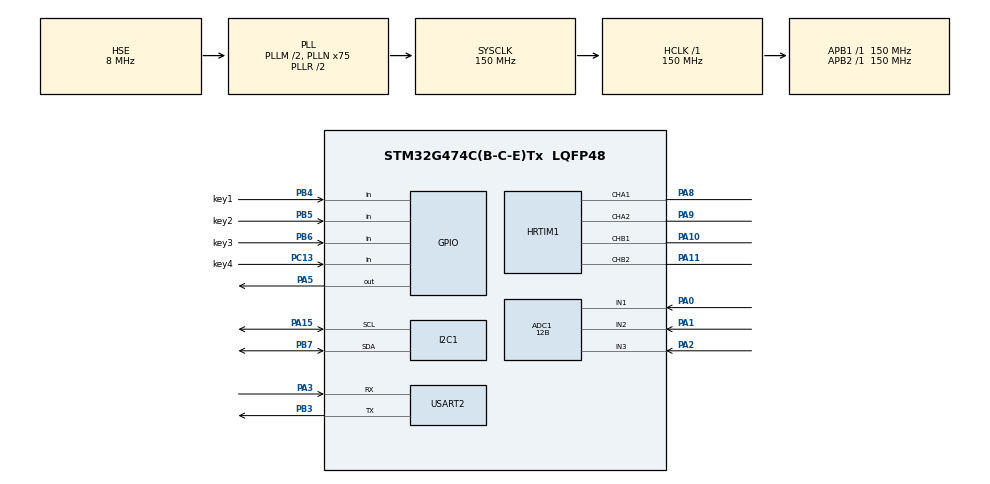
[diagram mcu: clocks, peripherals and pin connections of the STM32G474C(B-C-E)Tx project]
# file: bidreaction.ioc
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ADC1.Channel-0\#ChannelRegularConversion=ADC_CHANNEL_1
ADC1.Channel-1\#ChannelRegularConversion=ADC_CHANNEL_2
ADC1.Channel-2\#ChannelRegularConversion=ADC_CHANNEL_3
ADC1.Channel-IN1=ADC_CHANNEL_1
ADC1.Channel-IN2=ADC_CHANNEL_2
ADC1.Channel-IN3=ADC_CHANNEL_3
ADC1.ClockPrescaler=ADC_CLOCK_ASYNC_DIV4
ADC1.ContinuousConvMode=DISABLE
ADC1.DMAContinuousRequests=DISABLE
ADC1.DataAlign=ADC_DATAALIGN_RIGHT
ADC1.DiscontinuousConvMode=DISABLE
ADC1.EOCSelection=ADC_EOC_SINGLE_CONV
ADC1.EnableAnalogWatchDog1=false
ADC1.EnableAnalogWatchDog2=false
ADC1.EnableAnalogWatchDog3=false
ADC1.EnableInjectedConversion=DISABLE
ADC1.EnableRegularConversion=ENABLE
ADC1.ExternalTrigConv=ADC_SOFTWARE_START
ADC1.ExternalTrigConvEdge=ADC_EXTERNALTRIGCONVEDGE_NONE
ADC1.GainCompensation=0
ADC1.LowPowerAutoWait=DISABLE
ADC1.Mode=ADC_MODE_INDEPENDENT
ADC1.NbrOfConversion=3
ADC1.OffsetNumber-0\#ChannelRegularConversion=ADC_OFFSET_NONE
ADC1.OffsetNumber-1\#ChannelRegularConversion=ADC_OFFSET_NONE
ADC1.OffsetNumber-2\#ChannelRegularConversion=ADC_OFFSET_NONE
ADC1.Overrun=ADC_OVR_DATA_PRESERVED
ADC1.OversamplingMode=DISABLE
ADC1.Rank-0\#ChannelRegularConversion=1
ADC1.Rank-1\#ChannelRegularConversion=2
ADC1.Rank-2\#ChannelRegularConversion=3
ADC1.Resolution=ADC_RESOLUTION_12B
ADC1.SamplingTime-0\#ChannelRegularConversion=ADC_SAMPLETIME_24CYCLES_5
ADC1.SamplingTime-1\#ChannelRegularConversion=ADC_SAMPLETIME_24CYCLES_5
ADC1.SamplingTime-2\#ChannelRegularConversion=ADC_SAMPLETIME_24CYCLES_5
ADC1.ScanConvMode=ADC_SCAN_ENABLE
ADC1.SingleDiff-0\#ChannelRegularConversion=ADC_SINGLE_ENDED
ADC1.SingleDiff-1\#ChannelRegularConversion=ADC_SINGLE_ENDED
ADC1.SingleDiff-2\#ChannelRegularConversion=ADC_SINGLE_ENDED
ADC1.master=1
HRTIM1.ADCTrigger_Id1=__NULL
HRTIM1.ADCTrigger_Id10=__NULL
HRTIM1.ADCTrigger_Id2=__NULL
HRTIM1.ADCTrigger_Id3=__NULL
HRTIM1.ADCTrigger_Id4=__NULL
HRTIM1.ADCTrigger_Id5=__NULL
HRTIM1.ADCTrigger_Id6=__NULL
HRTIM1.ADCTrigger_Id7=__NULL
HRTIM1.ADCTrigger_Id8=__NULL
HRTIM1.ADCTrigger_Id9=__NULL
HRTIM1.BurstDMAconfig-Output_TA1TA2=__NULL
HRTIM1.BurstDMAconfig-Output_TB1TB2=__NULL
HRTIM1.BurstMode-Output_TA1TA2=HRTIM_TIMERBURSTMODE_MAINTAINCLOCK
HRTIM1.BurstMode-Output_TB1TB2=HRTIM_TIMERBURSTMODE_MAINTAINCLOCK
HRTIM1.BurstModeEntryDelayed1-Output_TA1TA2=HRTIM_OUTPUTBURSTMODEENTRY_REGULAR
HRTIM1.BurstModeEntryDelayed1-Output_TB1TB2=HRTIM_OUTPUTBURSTMODEENTRY_REGULAR
HRTIM1.BurstModeEntryDelayed2-Output_TA1TA2=HRTIM_OUTPUTBURSTMODEENTRY_REGULAR
HRTIM1.BurstModeEntryDelayed2-Output_TB1TB2=HRTIM_OUTPUTBURSTMODEENTRY_REGULAR
HRTIM1.CalibrationRate_nonIT=HRTIM_CALIBRATIONRATE_3
HRTIM1.CaptureUnit1-Output_TA1TA2=__NULL
HRTIM1.CaptureUnit1-Output_TB1TB2=__NULL
HRTIM1.CaptureUnit2-Output_TA1TA2=__NULL
HRTIM1.CaptureUnit2-Output_TB1TB2=__NULL
HRTIM1.ChopperModeEnable1-Output_TA1TA2=HRTIM_OUTPUTCHOPPERMODE_DISABLED
HRTIM1.ChopperModeEnable1-Output_TB1TB2=HRTIM_OUTPUTCHOPPERMODE_DISABLED
HRTIM1.ChopperModeEnable2-Output_TA1TA2=HRTIM_OUTPUTCHOPPERMODE_DISABLED
HRTIM1.ChopperModeEnable2-Output_TB1TB2=HRTIM_OUTPUTCHOPPERMODE_DISABLED
HRTIM1.ChopperModeconfig-Output_TA1TA2=__NULL
HRTIM1.ChopperModeconfig-Output_TB1TB2=__NULL
HRTIM1.CompareUnit1-Output_TA1TA2=HRTIM_COMPAREUNIT_1
HRTIM1.CompareUnit1-Output_TB1TB2=HRTIM_COMPAREUNIT_1
HRTIM1.CompareUnit2-Output_TA1TA2=__NULL
HRTIM1.CompareUnit2-Output_TB1TB2=__NULL
HRTIM1.CompareUnit3-Output_TA1TA2=__NULL
HRTIM1.CompareUnit3-Output_TB1TB2=__NULL
HRTIM1.CompareUnit4-Output_TA1TA2=__NULL
HRTIM1.CompareUnit4-Output_TB1TB2=__NULL
HRTIM1.CompareValue1-Output_TA1TA2=0x3E80
HRTIM1.CompareValue1-Output_TB1TB2=0x3E80
HRTIM1.Configuration_TA=Waveform
HRTIM1.Configuration_TB=Waveform
HRTIM1.DACSynchro-Output_TA1TA2=HRTIM_DACSYNC_NONE
HRTIM1.DACSynchro-Output_TB1TB2=HRTIM_DACSYNC_NONE
HRTIM1.DeadTimeInsertion-Output_TA1TA2=HRTIM_TIMDEADTIMEINSERTION_ENABLED
HRTIM1.DeadTimeInsertion-Output_TB1TB2=HRTIM_TIMDEADTIMEINSERTION_ENABLED
HRTIM1.Deadtimeconfig-Output_TA1TA2=HRTIM_TIMERINDEX_TIMER_A
HRTIM1.Deadtimeconfig-Output_TB1TB2=HRTIM_TIMERINDEX_TIMER_B
HRTIM1.DelayedProtectionMode-Output_TA1TA2=HRTIM_TIMER_A_B_C_DELAYEDPROTECTION_DISABLED
HRTIM1.DelayedProtectionMode-Output_TB1TB2=HRTIM_TIMER_A_B_C_DELAYEDPROTECTION_DISABLED
HRTIM1.DualChannelDacEnableFake_TA-Output_TA1TA2=HRTIM_TIMER_DCDE_DISABLED
HRTIM1.DualChannelDacEnableFake_TB-Output_TB1TB2=HRTIM_TIMER_DCDE_DISABLED
HRTIM1.Enable=HRTIM_BURSTMODECTL_DISABLED
HRTIM1.EnableCalibration=DLLSimpleCalibration
HRTIM1.Event1-Output_TA1TA2=__NULL
HRTIM1.Event1-Output_TB1TB2=__NULL
HRTIM1.Event10-Output_TA1TA2=__NULL
HRTIM1.Event10-Output_TB1TB2=__NULL
HRTIM1.Event2-Output_TA1TA2=__NULL
HRTIM1.Event2-Output_TB1TB2=__NULL
HRTIM1.Event3-Output_TA1TA2=__NULL
HRTIM1.Event3-Output_TB1TB2=__NULL
HRTIM1.Event4-Output_TA1TA2=__NULL
HRTIM1.Event4-Output_TB1TB2=__NULL
HRTIM1.Event5-Output_TA1TA2=__NULL
HRTIM1.Event5-Output_TB1TB2=__NULL
HRTIM1.Event6-Output_TA1TA2=__NULL
HRTIM1.Event6-Output_TB1TB2=__NULL
HRTIM1.Event7-Output_TA1TA2=__NULL
HRTIM1.Event7-Output_TB1TB2=__NULL
HRTIM1.Event8-Output_TA1TA2=__NULL
HRTIM1.Event8-Output_TB1TB2=__NULL
HRTIM1.Event9-Output_TA1TA2=__NULL
HRTIM1.Event9-Output_TB1TB2=__NULL
HRTIM1.EventEnableA-Output_TA1TA2=__NULL
HRTIM1.EventEnableA-Output_TB1TB2=__NULL
HRTIM1.Event_EEV1=__NULL
HRTIM1.Event_EEV10=__NULL
HRTIM1.Event_EEV2=__NULL
HRTIM1.Event_EEV3=__NULL
HRTIM1.Event_EEV4=__NULL
HRTIM1.Event_EEV5=__NULL
HRTIM1.Event_EEV6=__NULL
HRTIM1.Event_EEV7=__NULL
HRTIM1.Event_EEV8=__NULL
HRTIM1.Event_EEV9=__NULL
HRTIM1.FallingValue-Output_TA1TA2=240
HRTIM1.FallingValue-Output_TB1TB2=240
HRTIM1.FaultLevel1-Output_TA1TA2=HRTIM_OUTPUTFAULTLEVEL_NONE
HRTIM1.FaultLevel1-Output_TB1TB2=HRTIM_OUTPUTFAULTLEVEL_NONE
HRTIM1.FaultLevel2-Output_TA1TA2=HRTIM_OUTPUTFAULTLEVEL_NONE
HRTIM1.FaultLevel2-Output_TB1TB2=HRTIM_OUTPUTFAULTLEVEL_NONE
HRTIM1.FaultLock-Output_TA1TA2=HRTIM_TIMFAULTLOCK_READWRITE
HRTIM1.FaultLock-Output_TB1TB2=HRTIM_TIMFAULTLOCK_READWRITE
HRTIM1.Fault_Line1=__NULL
HRTIM1.Fault_Line2=__NULL
HRTIM1.Fault_Line3=__NULL
HRTIM1.Fault_Line4=__NULL
HRTIM1.Fault_Line5=__NULL
HRTIM1.Fault_Line6=__NULL
HRTIM1.GreaterCMP1_TB=HRTIM_TIMERGTCMP1_EQUAL
HRTIM1.HRTIMInterruptResquests1=HRTIM_IT_NONE
HRTIM1.HRTIMInterruptResquests2=HRTIM_IT_NONE
HRTIM1.HRTIMInterruptResquests3=HRTIM_IT_NONE
HRTIM1.HRTIMInterruptResquests4=HRTIM_IT_NONE
HRTIM1.HRTIMInterruptResquests5=HRTIM_IT_NONE
HRTIM1.HRTIMInterruptResquests6=HRTIM_IT_NONE
HRTIM1.HRTIMInterruptResquests7=HRTIM_IT_NONE
HRTIM1.HRTIMInterruptResquests8=HRTIM_IT_NONE
HRTIM1.HRTIMInterruptResquests9=HRTIM_IT_NONE
HRTIM1.IdleLevel1-Output_TA1TA2=HRTIM_OUTPUTIDLELEVEL_INACTIVE
HRTIM1.IdleLevel1-Output_TB1TB2=HRTIM_OUTPUTIDLELEVEL_INACTIVE
HRTIM1.IdleLevel2-Output_TA1TA2=HRTIM_OUTPUTIDLELEVEL_INACTIVE
HRTIM1.IdleLevel2-Output_TB1TB2=HRTIM_OUTPUTIDLELEVEL_INACTIVE
HRTIM1.IdleMode1-Output_TA1TA2=HRTIM_OUTPUTIDLEMODE_NONE
HRTIM1.IdleMode1-Output_TB1TB2=HRTIM_OUTPUTIDLEMODE_NONE
HRTIM1.IdleMode2-Output_TA1TA2=HRTIM_OUTPUTIDLEMODE_NONE
HRTIM1.IdleMode2-Output_TB1TB2=HRTIM_OUTPUTIDLEMODE_NONE
HRTIM1.InterleavedMode-Output_TA1TA2=HRTIM_INTERLEAVED_MODE_DISABLED
HRTIM1.InterleavedMode-Output_TB1TB2=HRTIM_INTERLEAVED_MODE_DISABLED
HRTIM1.ModeTimeBase-Output_TA1TA2=HRTIM_MODE_CONTINUOUS
HRTIM1.ModeTimeBase-Output_TB1TB2=HRTIM_MODE_CONTINUOUS
HRTIM1.NumberDMARequests_TA=0
HRTIM1.NumberDMARequests_TB=0
HRTIM1.NumberFaultEnable-Output_TA1TA2=0
HRTIM1.NumberFaultEnable-Output_TB1TB2=0
HRTIM1.NumberInterruptRequests-Output_TA1TA2=0
HRTIM1.NumberInterruptRequests-Output_TB1TB2=0
HRTIM1.NumberResetSource1-Output_TA1TA2=1
HRTIM1.NumberResetSource1-Output_TB1TB2=1
HRTIM1.NumberResetSource2_TB=0
HRTIM1.NumberResetTrigger-Output_TA1TA2=0
HRTIM1.NumberResetTrigger-Output_TB1TB2=0
HRTIM1.NumberSetSource1-Output_TA1TA2=1
HRTIM1.NumberSetSource1-Output_TB1TB2=1
HRTIM1.NumberSetSource2_TA=0
HRTIM1.NumberSetSource2_TB=0
HRTIM1.NumberUpdateTrigger-Output_TA1TA2=0
HRTIM1.NumberUpdateTrigger-Output_TB1TB2=0
HRTIM1.Output1-Output_TA1TA2=HRTIM_OUTPUT_TA1
HRTIM1.Output1-Output_TB1TB2=HRTIM_OUTPUT_TB1
HRTIM1.Output2-Output_TA1TA2=HRTIM_OUTPUT_TA2
HRTIM1.Output2-Output_TB1TB2=HRTIM_OUTPUT_TB2
HRTIM1.Periode_TA=32000
HRTIM1.Periode_TB=32000
HRTIM1.Polarity1-Output_TA1TA2=HRTIM_OUTPUTPOLARITY_HIGH
HRTIM1.Polarity1-Output_TB1TB2=HRTIM_OUTPUTPOLARITY_HIGH
HRTIM1.Polarity2-Output_TA1TA2=HRTIM_OUTPUTPOLARITY_HIGH
HRTIM1.Polarity2-Output_TB1TB2=HRTIM_OUTPUTPOLARITY_HIGH
HRTIM1.PreloadEnable-Output_TA1TA2=HRTIM_PRELOAD_ENABLED
HRTIM1.PreloadEnable-Output_TB1TB2=HRTIM_PRELOAD_ENABLED
HRTIM1.PrescalerRatio_TA=HRTIM_PRESCALERRATIO_MUL32
HRTIM1.PrescalerRatio_TB=HRTIM_PRESCALERRATIO_MUL32
HRTIM1.PushPull-Output_TA1TA2=HRTIM_TIMPUSHPULLMODE_DISABLED
HRTIM1.PushPull-Output_TB1TB2=HRTIM_TIMPUSHPULLMODE_DISABLED
HRTIM1.ReSyncUpdate-Output_TA1TA2=HRTIM_TIMERESYNC_UPDATE_UNCONDITIONAL
HRTIM1.ReSyncUpdate-Output_TB1TB2=HRTIM_TIMERESYNC_UPDATE_UNCONDITIONAL
HRTIM1.RepetitionUpdate-Output_TA1TA2=HRTIM_UPDATEONREPETITION_ENABLED
HRTIM1.RepetitionUpdate-Output_TB1TB2=HRTIM_UPDATEONREPETITION_ENABLED
HRTIM1.ResetOnSync-Output_TA1TA2=HRTIM_SYNCRESET_DISABLED
HRTIM1.ResetOnSync-Output_TB1TB2=HRTIM_SYNCRESET_DISABLED
HRTIM1.ResetOutput1_Source1-Output_TA1TA2=HRTIM_OUTPUTRESET_TIMCMP1
HRTIM1.ResetOutput1_Source1-Output_TB1TB2=HRTIM_OUTPUTRESET_TIMCMP1
HRTIM1.ResetUpdate-Output_TA1TA2=HRTIM_TIMUPDATEONRESET_DISABLED
HRTIM1.ResetUpdate-Output_TB1TB2=HRTIM_TIMUPDATEONRESET_DISABLED
HRTIM1.RisingValue-Output_TA1TA2=240
HRTIM1.RisingValue-Output_TB1TB2=240
HRTIM1.SetOutput1_Source1-Output_TA1TA2=HRTIM_OUTPUTSET_TIMPER
HRTIM1.SetOutput1_Source1-Output_TB1TB2=HRTIM_OUTPUTSET_TIMPER
HRTIM1.StartOnSync-Output_TA1TA2=HRTIM_SYNCSTART_DISABLED
HRTIM1.StartOnSync-Output_TB1TB2=HRTIM_SYNCSTART_DISABLED
HRTIM1.SwapA=__NULL
HRTIM1.SwapB=__NULL
HRTIM1.SyncOptions=HRTIM_SYNCOPTION_NONE
HRTIM1.Timeout=10
HRTIM1.TimerIdx-Output_TA1TA2=HRTIM_TIMERINDEX_TIMER_A
HRTIM1.TimerIdx-Output_TB1TB2=HRTIM_TIMERINDEX_TIMER_B
HRTIM1.UpDownMode-Output_TA1TA2=HRTIM_TIMERUPDOWNMODE_UP
HRTIM1.UpDownMode-Output_TB1TB2=HRTIM_TIMERUPDOWNMODE_UP
HRTIM1.UpdateGating-Output_TA1TA2=HRTIM_UPDATEGATING_INDEPENDENT
HRTIM1.UpdateGating-Output_TB1TB2=HRTIM_UPDATEGATING_INDEPENDENT
I2C1.Analog_Filter=I2C_ANALOGFILTER_ENABLE
I2C1.Timing=0x20C0EDFF
Mcu.Family=STM32G4
Mcu.Name=STM32G474C(B-C-E)Tx
Mcu.Package=LQFP48
NVIC.PriorityGroup=NVIC_PRIORITYGROUP_4
PA0.Mode=IN1-Single-Ended
PA0.Signal=ADC1_IN1
PA1.Mode=IN2-Single-Ended
PA1.Signal=ADC1_IN2
PA10.Mode=Output_TB1TB2
PA10.Signal=HRTIM1_CHB1
PA11.Mode=Output_TB1TB2
PA11.Signal=HRTIM1_CHB2
PA13.Mode=Serial_Wire
PA13.Signal=SYS_JTMS-SWDIO
PA14.Mode=Serial_Wire
PA14.Signal=SYS_JTCK-SWCLK
PA15.Mode=I2C
PA15.Signal=I2C1_SCL
PA2.Mode=IN3-Single-Ended
PA2.Signal=ADC1_IN3
PA3.Mode=Asynchronous
PA3.Signal=USART2_RX
PA5.GPIO_PuPd=GPIO_PULLUP
PA5.Signal=GPIO_Output
PA8.Mode=Output_TA1TA2
PA8.Signal=HRTIM1_CHA1
PA9.Mode=Output_TA1TA2
PA9.Signal=HRTIM1_CHA2
PB3.Mode=Asynchronous
PB3.Signal=USART2_TX
PB4.GPIO_Label=key1
PB4.GPIO_PuPd=GPIO_PULLUP
PB4.Signal=GPIO_Input
PB5.GPIO_Label=key2
PB5.GPIO_PuPd=GPIO_PULLUP
PB5.Signal=GPIO_Input
PB6.GPIO_Label=key3
PB6.GPIO_PuPd=GPIO_PULLUP
PB6.Signal=GPIO_Input
PB7.Mode=I2C
PB7.Signal=I2C1_SDA
PC13.GPIO_Label=key4
PC13.GPIO_PuPd=GPIO_PULLUP
PC13.Signal=GPIO_Input
PF0-OSC_IN.Mode=HSE-External-Oscillator
PF0-OSC_IN.Signal=RCC_OSC_IN
PF1-OSC_OUT.Mode=HSE-External-Oscillator
PF1-OSC_OUT.Signal=RCC_OSC_OUT
ProjectManager.HeapSize=0x200
ProjectManager.StackSize=0x400
ProjectManager.TargetToolchain=MDK-ARM V5.32
RCC.ADC12Freq_Value=150000000
RCC.ADC345Freq_Value=150000000
RCC.AHBFreq_Value=150000000
RCC.APB1Freq_Value=150000000
RCC.APB1TimFreq_Value=150000000
RCC.APB2Freq_Value=150000000
RCC.APB2TimFreq_Value=150000000
RCC.CortexFreq_Value=150000000
RCC.EXTERNAL_CLOCK_VALUE=12288000
RCC.FLatency=FLASH_LATENCY_4
RCC.HCLKFreq_Value=150000000
RCC.HSE_VALUE=8000000
RCC.HSI48_VALUE=48000000
RCC.HSI_VALUE=16000000
RCC.LSE_VALUE=32768
RCC.PLLM=RCC_PLLM_DIV2
RCC.PLLN=75
RCC.PLLSourceVirtual=RCC_PLLSOURCE_HSE
RCC.SYSCLKFreq_VALUE=150000000
RCC.SYSCLKSource=RCC_SYSCLKSOURCE_PLLCLK
RCC.USBFreq_Value=150000000
RCC.VCOOutputFreq_Value=300000000
USART2.VirtualMode-Asynchronous=VM_ASYNC
VP_SYS_VS_DBSignals.Mode=DisableDeadBatterySignals
board=custom

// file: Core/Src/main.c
/* USER CODE BEGIN Header */
/**
  ******************************************************************************
  * @file           : main.c
  * @brief          : Main program body
  ******************************************************************************
  * @attention
  *
  * Copyright (c) 2026 STMicroelectronics.
  * All rights reserved.
  *
  * This software is licensed under terms that can be found in the LICENSE file
  * in the root directory of this software component.
  * If no LICENSE file comes with this software, it is provided AS-IS.
  *
  ******************************************************************************
  */
/* USER CODE END Header */
#include "main.h"

/* USER CODE BEGIN Includes */
#include "key.h"
#include "OLED_IIC_Config.h"
#include "forward.h"
#include "adc_acquire.h"
#include "power_control.h"
#include "power_ui.h"
/* USER CODE END Includes */

ADC_HandleTypeDef hadc1;

HRTIM_HandleTypeDef hhrtim1;

I2C_HandleTypeDef hi2c1;

UART_HandleTypeDef huart2;

/* USER CODE BEGIN PV */
AdcMeasurements adc_measurements;

/* USER CODE END PV */

void SystemClock_Config(void);
static void MX_GPIO_Init(void);
static void MX_ADC1_Init(void);
static void MX_HRTIM1_Init(void);
static void MX_I2C1_Init(void);
static void MX_USART2_UART_Init(void);

int main(void)
{

  /* MCU Configuration--------------------------------------------------------*/

  /* Reset of all peripherals, Initializes the Flash interface and the Systick. */
  HAL_Init();

  /* Configure the system clock */
  SystemClock_Config();

  /* Initialize all configured peripherals */
  MX_GPIO_Init();
  MX_ADC1_Init();
  MX_HRTIM1_Init();
  MX_I2C1_Init();
  MX_USART2_UART_Init();
  /* USER CODE BEGIN 2 */
  if (HAL_ADCEx_Calibration_Start(&hadc1, ADC_SINGLE_ENDED) != HAL_OK)
  {
    Error_Handler();
  }
  Key_Init();
  OLED_Init();
  forward_initialize(0.0);
  if (Power_Init(&hadc1, &hhrtim1) != HAL_OK)
  {
    Error_Handler();
  }
  PowerUI_Init();
  /* USER CODE END 2 */

  /* Infinite loop */
  while (1)
  {

    /* USER CODE BEGIN 3 */
    Power_Service(&adc_measurements);
    PowerUI_Service(&adc_measurements);
    HAL_Delay(1);
  }
  /* USER CODE END 3 */
}

void SystemClock_Config(void)
{
  RCC_OscInitTypeDef RCC_OscInitStruct = {0};
  RCC_ClkInitTypeDef RCC_ClkInitStruct = {0};

  /** Configure the main internal regulator output voltage
  */
  HAL_PWREx_ControlVoltageScaling(PWR_REGULATOR_VOLTAGE_SCALE1);

  /** Initializes the RCC Oscillators according to the specified parameters
  * in the RCC_OscInitTypeDef structure.
  */
  RCC_OscInitStruct.OscillatorType = RCC_OSCILLATORTYPE_HSE;
  RCC_OscInitStruct.HSEState = RCC_HSE_ON;
  RCC_OscInitStruct.PLL.PLLState = RCC_PLL_ON;
  RCC_OscInitStruct.PLL.PLLSource = RCC_PLLSOURCE_HSE;
  RCC_OscInitStruct.PLL.PLLM = RCC_PLLM_DIV2;
  RCC_OscInitStruct.PLL.PLLN = 75;
  RCC_OscInitStruct.PLL.PLLP = RCC_PLLP_DIV2;
  RCC_OscInitStruct.PLL.PLLQ = RCC_PLLQ_DIV2;
  RCC_OscInitStruct.PLL.PLLR = RCC_PLLR_DIV2;
  if (HAL_RCC_OscConfig(&RCC_OscInitStruct) != HAL_OK)
  {
    Error_Handler();
  }

  /** Initializes the CPU, AHB and APB buses clocks
  */
  RCC_ClkInitStruct.ClockType = RCC_CLOCKTYPE_HCLK|RCC_CLOCKTYPE_SYSCLK
                              |RCC_CLOCKTYPE_PCLK1|RCC_CLOCKTYPE_PCLK2;
  RCC_ClkInitStruct.SYSCLKSource = RCC_SYSCLKSOURCE_PLLCLK;
  RCC_ClkInitStruct.AHBCLKDivider = RCC_SYSCLK_DIV1;
  RCC_ClkInitStruct.APB1CLKDivider = RCC_HCLK_DIV1;
  RCC_ClkInitStruct.APB2CLKDivider = RCC_HCLK_DIV1;

  if (HAL_RCC_ClockConfig(&RCC_ClkInitStruct, FLASH_LATENCY_4) != HAL_OK)
  {
    Error_Handler();
  }
}

static void MX_ADC1_Init(void)
{

  ADC_MultiModeTypeDef multimode = {0};
  ADC_ChannelConfTypeDef sConfig = {0};

  /** Common config
  */
  hadc1.Instance = ADC1;
  hadc1.Init.ClockPrescaler = ADC_CLOCK_ASYNC_DIV4;
  hadc1.Init.Resolution = ADC_RESOLUTION_12B;
  hadc1.Init.DataAlign = ADC_DATAALIGN_RIGHT;
  hadc1.Init.GainCompensation = 0;
  hadc1.Init.ScanConvMode = ADC_SCAN_ENABLE;
  hadc1.Init.EOCSelection = ADC_EOC_SINGLE_CONV;
  hadc1.Init.LowPowerAutoWait = DISABLE;
  hadc1.Init.ContinuousConvMode = DISABLE;
  hadc1.Init.NbrOfConversion = 3;
  hadc1.Init.DiscontinuousConvMode = DISABLE;
  hadc1.Init.ExternalTrigConv = ADC_SOFTWARE_START;
  hadc1.Init.ExternalTrigConvEdge = ADC_EXTERNALTRIGCONVEDGE_NONE;
  hadc1.Init.DMAContinuousRequests = DISABLE;
  hadc1.Init.Overrun = ADC_OVR_DATA_PRESERVED;
  hadc1.Init.OversamplingMode = DISABLE;
  if (HAL_ADC_Init(&hadc1) != HAL_OK)
  {
    Error_Handler();
  }

  /** Configure the ADC multi-mode
  */
  multimode.Mode = ADC_MODE_INDEPENDENT;
  if (HAL_ADCEx_MultiModeConfigChannel(&hadc1, &multimode) != HAL_OK)
  {
    Error_Handler();
  }

  /** Configure Regular Channel
  */
  sConfig.Channel = ADC_CHANNEL_1;
  sConfig.Rank = ADC_REGULAR_RANK_1;
  sConfig.SamplingTime = ADC_SAMPLETIME_24CYCLES_5;
  sConfig.SingleDiff = ADC_SINGLE_ENDED;
  sConfig.OffsetNumber = ADC_OFFSET_NONE;
  sConfig.Offset = 0;
  if (HAL_ADC_ConfigChannel(&hadc1, &sConfig) != HAL_OK)
  {
    Error_Handler();
  }

  sConfig.Channel = ADC_CHANNEL_2;
  sConfig.Rank = ADC_REGULAR_RANK_2;
  if (HAL_ADC_ConfigChannel(&hadc1, &sConfig) != HAL_OK)
  {
    Error_Handler();
  }

  sConfig.Channel = ADC_CHANNEL_3;
  sConfig.Rank = ADC_REGULAR_RANK_3;
  if (HAL_ADC_ConfigChannel(&hadc1, &sConfig) != HAL_OK)
  {
    Error_Handler();
  }

}

static void MX_HRTIM1_Init(void)
{

  HRTIM_TimeBaseCfgTypeDef pTimeBaseCfg = {0};
  HRTIM_TimerCtlTypeDef pTimerCtl = {0};
  HRTIM_TimerCfgTypeDef pTimerCfg = {0};
  HRTIM_CompareCfgTypeDef pCompareCfg = {0};
  HRTIM_DeadTimeCfgTypeDef pDeadTimeCfg = {0};
  HRTIM_OutputCfgTypeDef pOutputCfg = {0};

  hhrtim1.Instance = HRTIM1;
  hhrtim1.Init.HRTIMInterruptResquests = HRTIM_IT_NONE;
  hhrtim1.Init.SyncOptions = HRTIM_SYNCOPTION_NONE;
  if (HAL_HRTIM_Init(&hhrtim1) != HAL_OK)
  {
    Error_Handler();
  }
  if (HAL_HRTIM_DLLCalibrationStart(&hhrtim1, HRTIM_CALIBRATIONRATE_3) != HAL_OK)
  {
    Error_Handler();
  }
  if (HAL_HRTIM_PollForDLLCalibration(&hhrtim1, 10) != HAL_OK)
  {
    Error_Handler();
  }
  pTimeBaseCfg.Period = PWM_PERIOD_TICKS;
  pTimeBaseCfg.RepetitionCounter = 0x00;
  pTimeBaseCfg.PrescalerRatio = HRTIM_PRESCALERRATIO_MUL32;
  pTimeBaseCfg.Mode = HRTIM_MODE_CONTINUOUS;
  if (HAL_HRTIM_TimeBaseConfig(&hhrtim1, HRTIM_TIMERINDEX_TIMER_A, &pTimeBaseCfg) != HAL_OK)
  {
    Error_Handler();
  }
  pTimerCtl.UpDownMode = HRTIM_TIMERUPDOWNMODE_UP;
  pTimerCtl.GreaterCMP1 = HRTIM_TIMERGTCMP1_EQUAL;
  pTimerCtl.DualChannelDacEnable = HRTIM_TIMER_DCDE_DISABLED;
  if (HAL_HRTIM_WaveformTimerControl(&hhrtim1, HRTIM_TIMERINDEX_TIMER_A, &pTimerCtl) != HAL_OK)
  {
    Error_Handler();
  }
  pTimerCfg.InterruptRequests = HRTIM_TIM_IT_NONE;
  pTimerCfg.DMARequests = HRTIM_TIM_DMA_NONE;
  pTimerCfg.DMASrcAddress = 0x0000;
  pTimerCfg.DMADstAddress = 0x0000;
  pTimerCfg.DMASize = 0x1;
  pTimerCfg.HalfModeEnable = HRTIM_HALFMODE_DISABLED;
  pTimerCfg.InterleavedMode = HRTIM_INTERLEAVED_MODE_DISABLED;
  pTimerCfg.StartOnSync = HRTIM_SYNCSTART_DISABLED;
  pTimerCfg.ResetOnSync = HRTIM_SYNCRESET_DISABLED;
  pTimerCfg.DACSynchro = HRTIM_DACSYNC_NONE;
  pTimerCfg.PreloadEnable = HRTIM_PRELOAD_ENABLED;
  pTimerCfg.UpdateGating = HRTIM_UPDATEGATING_INDEPENDENT;
  pTimerCfg.BurstMode = HRTIM_TIMERBURSTMODE_MAINTAINCLOCK;
  pTimerCfg.RepetitionUpdate = HRTIM_UPDATEONREPETITION_ENABLED;
  pTimerCfg.PushPull = HRTIM_TIMPUSHPULLMODE_DISABLED;
  pTimerCfg.FaultEnable = HRTIM_TIMFAULTENABLE_NONE;
  pTimerCfg.FaultLock = HRTIM_TIMFAULTLOCK_READWRITE;
  pTimerCfg.DeadTimeInsertion = HRTIM_TIMDEADTIMEINSERTION_ENABLED;
  pTimerCfg.DelayedProtectionMode = HRTIM_TIMER_A_B_C_DELAYEDPROTECTION_DISABLED;
  pTimerCfg.UpdateTrigger = HRTIM_TIMUPDATETRIGGER_NONE;
  pTimerCfg.ResetTrigger = HRTIM_TIMRESETTRIGGER_NONE;
  pTimerCfg.ResetUpdate = HRTIM_TIMUPDATEONRESET_DISABLED;
  pTimerCfg.ReSyncUpdate = HRTIM_TIMERESYNC_UPDATE_UNCONDITIONAL;
  if (HAL_HRTIM_WaveformTimerConfig(&hhrtim1, HRTIM_TIMERINDEX_TIMER_A, &pTimerCfg) != HAL_OK)
  {
    Error_Handler();
  }
  if (HAL_HRTIM_WaveformTimerConfig(&hhrtim1, HRTIM_TIMERINDEX_TIMER_B, &pTimerCfg) != HAL_OK)
  {
    Error_Handler();
  }
  pCompareCfg.CompareValue = 0x3E80;
  if (HAL_HRTIM_WaveformCompareConfig(&hhrtim1, HRTIM_TIMERINDEX_TIMER_A, HRTIM_COMPAREUNIT_1, &pCompareCfg) != HAL_OK)
  {
    Error_Handler();
  }
  pDeadTimeCfg.Prescaler = HRTIM_TIMDEADTIME_PRESCALERRATIO_MUL8;
  pDeadTimeCfg.RisingValue = PWM_DEADTIME_REG;
  pDeadTimeCfg.RisingSign = HRTIM_TIMDEADTIME_RISINGSIGN_POSITIVE;
  pDeadTimeCfg.RisingLock = HRTIM_TIMDEADTIME_RISINGLOCK_WRITE;
  pDeadTimeCfg.RisingSignLock = HRTIM_TIMDEADTIME_RISINGSIGNLOCK_WRITE;
  pDeadTimeCfg.FallingValue = PWM_DEADTIME_REG;
  pDeadTimeCfg.FallingSign = HRTIM_TIMDEADTIME_FALLINGSIGN_POSITIVE;
  pDeadTimeCfg.FallingLock = HRTIM_TIMDEADTIME_FALLINGLOCK_WRITE;
  pDeadTimeCfg.FallingSignLock = HRTIM_TIMDEADTIME_FALLINGSIGNLOCK_WRITE;
  if (HAL_HRTIM_DeadTimeConfig(&hhrtim1, HRTIM_TIMERINDEX_TIMER_A, &pDeadTimeCfg) != HAL_OK)
  {
    Error_Handler();
  }
  if (HAL_HRTIM_DeadTimeConfig(&hhrtim1, HRTIM_TIMERINDEX_TIMER_B, &pDeadTimeCfg) != HAL_OK)
  {
    Error_Handler();
  }
  pOutputCfg.Polarity = HRTIM_OUTPUTPOLARITY_HIGH;
  pOutputCfg.SetSource = HRTIM_OUTPUTSET_TIMPER;
  pOutputCfg.ResetSource = HRTIM_OUTPUTRESET_TIMCMP1;
  pOutputCfg.IdleMode = HRTIM_OUTPUTIDLEMODE_NONE;
  pOutputCfg.IdleLevel = HRTIM_OUTPUTIDLELEVEL_INACTIVE;
  pOutputCfg.FaultLevel = HRTIM_OUTPUTFAULTLEVEL_NONE;
  pOutputCfg.ChopperModeEnable = HRTIM_OUTPUTCHOPPERMODE_DISABLED;
  pOutputCfg.BurstModeEntryDelayed = HRTIM_OUTPUTBURSTMODEENTRY_REGULAR;
  if (HAL_HRTIM_WaveformOutputConfig(&hhrtim1, HRTIM_TIMERINDEX_TIMER_A, HRTIM_OUTPUT_TA1, &pOutputCfg) != HAL_OK)
  {
    Error_Handler();
  }
  if (HAL_HRTIM_WaveformOutputConfig(&hhrtim1, HRTIM_TIMERINDEX_TIMER_B, HRTIM_OUTPUT_TB1, &pOutputCfg) != HAL_OK)
  {
    Error_Handler();
  }
  pOutputCfg.SetSource = HRTIM_OUTPUTSET_NONE;
  pOutputCfg.ResetSource = HRTIM_OUTPUTRESET_NONE;
  if (HAL_HRTIM_WaveformOutputConfig(&hhrtim1, HRTIM_TIMERINDEX_TIMER_A, HRTIM_OUTPUT_TA2, &pOutputCfg) != HAL_OK)
  {
    Error_Handler();
  }
  if (HAL_HRTIM_WaveformOutputConfig(&hhrtim1, HRTIM_TIMERINDEX_TIMER_B, HRTIM_OUTPUT_TB2, &pOutputCfg) != HAL_OK)
  {
    Error_Handler();
  }
  if (HAL_HRTIM_TimeBaseConfig(&hhrtim1, HRTIM_TIMERINDEX_TIMER_B, &pTimeBaseCfg) != HAL_OK)
  {
    Error_Handler();
  }
  pTimerCtl.GreaterCMP1 = HRTIM_TIMERGTCMP1_EQUAL;
  if (HAL_HRTIM_WaveformTimerControl(&hhrtim1, HRTIM_TIMERINDEX_TIMER_B, &pTimerCtl) != HAL_OK)
  {
    Error_Handler();
  }
  if (HAL_HRTIM_WaveformCompareConfig(&hhrtim1, HRTIM_TIMERINDEX_TIMER_B, HRTIM_COMPAREUNIT_1, &pCompareCfg) != HAL_OK)
  {
    Error_Handler();
  }
  HAL_HRTIM_MspPostInit(&hhrtim1);

}

static void MX_I2C1_Init(void)
{

  hi2c1.Instance = I2C1;
  hi2c1.Init.Timing = 0x20C0EDFF;
  hi2c1.Init.OwnAddress1 = 0;
  hi2c1.Init.AddressingMode = I2C_ADDRESSINGMODE_7BIT;
  hi2c1.Init.DualAddressMode = I2C_DUALADDRESS_DISABLE;
  hi2c1.Init.OwnAddress2 = 0;
  hi2c1.Init.OwnAddress2Masks = I2C_OA2_NOMASK;
  hi2c1.Init.GeneralCallMode = I2C_GENERALCALL_DISABLE;
  hi2c1.Init.NoStretchMode = I2C_NOSTRETCH_DISABLE;
  if (HAL_I2C_Init(&hi2c1) != HAL_OK)
  {
    Error_Handler();
  }

  /** Configure Analogue filter
  */
  if (HAL_I2CEx_ConfigAnalogFilter(&hi2c1, I2C_ANALOGFILTER_ENABLE) != HAL_OK)
  {
    Error_Handler();
  }

  /** Configure Digital filter
  */
  if (HAL_I2CEx_ConfigDigitalFilter(&hi2c1, 0) != HAL_OK)
  {
    Error_Handler();
  }

}

static void MX_USART2_UART_Init(void)
{

  huart2.Instance = USART2;
  huart2.Init.BaudRate = 115200;
  huart2.Init.WordLength = UART_WORDLENGTH_8B;
  huart2.Init.StopBits = UART_STOPBITS_1;
  huart2.Init.Parity = UART_PARITY_NONE;
  huart2.Init.Mode = UART_MODE_TX_RX;
  huart2.Init.HwFlowCtl = UART_HWCONTROL_NONE;
  huart2.Init.OverSampling = UART_OVERSAMPLING_16;
  huart2.Init.OneBitSampling = UART_ONE_BIT_SAMPLE_DISABLE;
  huart2.Init.ClockPrescaler = UART_PRESCALER_DIV1;
  huart2.AdvancedInit.AdvFeatureInit = UART_ADVFEATURE_NO_INIT;
  if (HAL_UART_Init(&huart2) != HAL_OK)
  {
    Error_Handler();
  }
  if (HAL_UARTEx_SetTxFifoThreshold(&huart2, UART_TXFIFO_THRESHOLD_1_8) != HAL_OK)
  {
    Error_Handler();
  }
  if (HAL_UARTEx_SetRxFifoThreshold(&huart2, UART_RXFIFO_THRESHOLD_1_8) != HAL_OK)
  {
    Error_Handler();
  }
  if (HAL_UARTEx_DisableFifoMode(&huart2) != HAL_OK)
  {
    Error_Handler();
  }

}

static void MX_GPIO_Init(void)
{
  GPIO_InitTypeDef GPIO_InitStruct = {0};

  /* GPIO Ports Clock Enable */
  __HAL_RCC_GPIOC_CLK_ENABLE();
  __HAL_RCC_GPIOF_CLK_ENABLE();
  __HAL_RCC_GPIOA_CLK_ENABLE();
  __HAL_RCC_GPIOB_CLK_ENABLE();

  /*Configure GPIO pin Output Level */
  HAL_GPIO_WritePin(GPIOA, GPIO_PIN_5, GPIO_PIN_RESET);

  /*Configure GPIO pin : PC13 */
  GPIO_InitStruct.Pin = GPIO_PIN_13;
  GPIO_InitStruct.Mode = GPIO_MODE_INPUT;
  GPIO_InitStruct.Pull = GPIO_PULLUP;
  HAL_GPIO_Init(GPIOC, &GPIO_InitStruct);

  /*Configure GPIO pin : PA5 */
  GPIO_InitStruct.Pin = GPIO_PIN_5;
  GPIO_InitStruct.Mode = GPIO_MODE_OUTPUT_PP;
  GPIO_InitStruct.Pull = GPIO_PULLUP;
  GPIO_InitStruct.Speed = GPIO_SPEED_FREQ_LOW;
  HAL_GPIO_Init(GPIOA, &GPIO_InitStruct);

  /*Configure GPIO pins : PB4 PB5 */
  GPIO_InitStruct.Pin = GPIO_PIN_4|GPIO_PIN_5;
  GPIO_InitStruct.Mode = GPIO_MODE_INPUT;
  GPIO_InitStruct.Pull = GPIO_PULLUP;
  HAL_GPIO_Init(GPIOB, &GPIO_InitStruct);

  /*Configure GPIO pin : PB6 */
  GPIO_InitStruct.Pin = GPIO_PIN_6;
  GPIO_InitStruct.Mode = GPIO_MODE_INPUT;
  GPIO_InitStruct.Pull = GPIO_PULLUP;
  HAL_GPIO_Init(GPIOB, &GPIO_InitStruct);

}

void Error_Handler(void)
{
  /* USER CODE BEGIN Error_Handler_Debug */
  Power_EmergencyOff();
  /* User can add his own implementation to report the HAL error return state */
  __disable_irq();
  while (1)
  {
  }
  /* USER CODE END Error_Handler_Debug */
}
